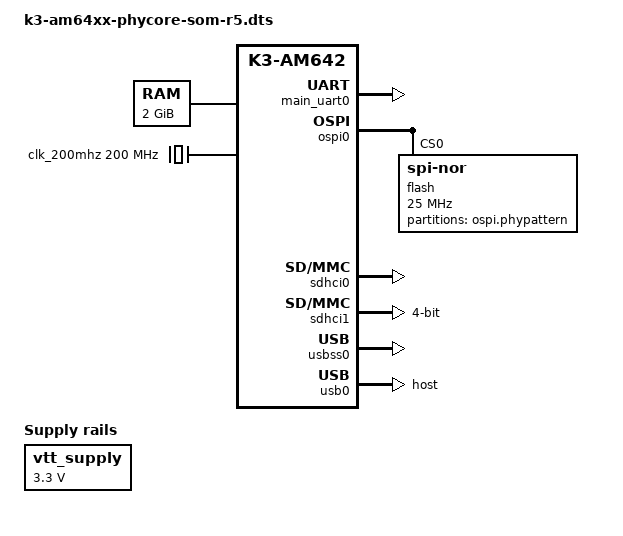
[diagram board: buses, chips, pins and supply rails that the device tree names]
// SPDX-License-Identifier: GPL-2.0
/*
 * Copyright (C) 2021 PHYTEC America, LLC - https://www.phytec.com
 */

/dts-v1/;

#include "k3-am642.dtsi"
#include "k3-am64xx-phycore-som-ddr4.dtsi"
#include "k3-am64-ddr.dtsi"

/ {

	aliases {
		ethernet0 = &cpsw3g;
		remoteproc0 = &sysctrler;
		remoteproc1 = &a53_0;
	};

	chosen {
		stdout-path = &main_uart0;
		tick-timer = &timer1;
	};

	memory@80000000 {
		device_type = "memory";
		reg = <0x00000000 0x80000000 0x00000000 0x80000000>;	/* 2GiB */

	};

	reserved-memory {
		#address-cells = <2>;
		#size-cells = <2>;
		ranges;

		secure_ddr: optee@9e800000 {
			reg = <0x00 0x9e800000 0x00 0x01800000>; /* for OP-TEE */
			alignment = <0x1000>;
			no-map;
		};
	};

	a53_0: a53@0 {
		compatible = "ti,am654-rproc";
		reg = <0x00 0x00a90000 0x00 0x10>;
		power-domains = <&k3_pds 61 TI_SCI_PD_EXCLUSIVE>,
				<&k3_pds 135 TI_SCI_PD_EXCLUSIVE>;
		resets = <&k3_reset 135 0>;
		clocks = <&k3_clks 61 0>;
		assigned-clocks = <&k3_clks 61 0>, <&k3_clks 135 0>;
		assigned-clock-parents = <&k3_clks 61 2>;
		assigned-clock-rates = <200000000>, <1000000000>;
		ti,sci = <&dmsc>;
		ti,sci-proc-id = <32>;
		ti,sci-host-id = <10>;
		u-boot,dm-spl;
	};

	clk_200mhz: dummy-clock-200mhz {
		compatible = "fixed-clock";
		#clock-cells = <0>;
		clock-frequency = <200000000>;
		u-boot,dm-spl;
	};

	vtt_supply: vtt-supply {
		compatible = "regulator-gpio";
		regulator-name = "vtt";
		regulator-min-microvolt = <0>;
		regulator-max-microvolt = <3300000>;
		gpios = <&main_gpio0 14 GPIO_ACTIVE_HIGH>;
		states = <0 0x0 3300000 0x1>;
		u-boot,dm-spl;
	};
};

&cbass_main {
	sysctrler: sysctrler {
		compatible = "ti,am654-system-controller";
		mboxes = <&secure_proxy_main 1>,
			 <&secure_proxy_main 0>;
		mbox-names = "tx", "rx";
		u-boot,dm-spl;
	};
};

&dmsc {
	mboxes = <&secure_proxy_main 0>,
		 <&secure_proxy_main 1>,
		 <&secure_proxy_main 0>;
	mbox-names = "rx", "tx", "notify";
	ti,host-id = <35>;
	ti,secure-host;
};

&main_gpio0 {
	/delete-property/ power-domains;
};

&main_uart0 {
	status = "okay";
	pinctrl-names = "default";
	pinctrl-0 = <&main_uart0_pins_default>;

	/delete-property/ power-domains;
	/delete-property/ clocks;
	/delete-property/ clock-names;
};

&memorycontroller {
	vtt-supply = <&vtt_supply>;
	pinctrl-names = "default";
	pinctrl-0 = <&ddr_vtt_pins_default>;
};

&ospi0 {
	status = "okay";
	pinctrl-names = "default";
	pinctrl-0 = <&ospi0_pins_default>;

	reg = <0x00 0x0fc40000 0x00 0x100>,
	      <0x00 0x60000000 0x00 0x8000000>;

	flash@0 {
		compatible = "jedec,spi-nor";
		reg = <0x0>;
		spi-tx-bus-width = <8>;
		spi-rx-bus-width = <8>;
		spi-max-frequency = <25000000>;
		cdns,tshsl-ns = <60>;
		cdns,tsd2d-ns = <60>;
		cdns,tchsh-ns = <60>;
		cdns,tslch-ns = <60>;
		cdns,read-delay = <0>;
		cdns,phy-mode;
		#address-cells = <1>;
		#size-cells = <1>;

		partition@3fc0000 {
			label = "ospi.phypattern";
			reg = <0x3fc0000 0x40000>;
		};
	};
};

&sdhci0 {
	status = "okay";
	clocks = <&clk_200mhz>;
	clock-names = "clk_xin";
	ti,driver-strength-ohm = <50>;
	disable-wp;
	/delete-property/ power-domains;
	/* temporarily disable hs400 until new eMMC chips can be tested */
	/delete-property/ mmc-hs400-1_8v;
};

&sdhci1 {
	status = "okay";
	pinctrl-names = "default";
	bus-width = <4>;
	pinctrl-0 = <&main_mmc1_pins_default>;
	ti,driver-strength-ohm = <50>;
	disable-wp;

	/delete-property/ power-domains;
	clocks = <&clk_200mhz>;
	clock-names = "clk_xin";
};

&usbss0 {
	status = "okay";
	ti,vbus-divider;
	ti,usb2-only;
};

&usb0 {
	status = "okay";
	pinctrl-names = "default";
	pinctrl-0 = <&main_usb0_pins_default>;
	dr_mode = "host";
	maximum-speed = "high-speed";
};


&main_pmx0 {
	ddr_vtt_pins_default: ddr-vtt-pins-default {
		u-boot,dm-spl;
		pinctrl-single,pins = <
			AM64X_IOPAD(0x0038, PIN_OUTPUT, 7)	/* (L17) OSPI0_CSn3.GPIO0_14 */
		>;
	};

	main_mmc1_pins_default: main-mmc1-pins-default {
		pinctrl-single,pins = <
			AM64X_IOPAD(0x027c, PIN_INPUT_PULLUP, 0)	/* (K18) MMC1_DAT3 */
			AM64X_IOPAD(0x0280, PIN_INPUT_PULLUP, 0)	/* (K19) MMC1_DAT2 */
			AM64X_IOPAD(0x0284, PIN_INPUT_PULLUP, 0)	/* (L21) MMC1_DAT1 */
			AM64X_IOPAD(0x0288, PIN_INPUT_PULLUP, 0)	/* (K21) MMC1_DAT0 */
			AM64X_IOPAD(0x028c, PIN_INPUT_PULLDOWN, 0)	/* (L20) MMC1_CLK */
			AM64X_IOPAD(0x0290, PIN_INPUT, 0)		/* MMC1_CLKLB */
			AM64X_IOPAD(0x0294, PIN_INPUT_PULLUP, 0)	/* (J19) MMC1_CMD */
			AM64X_IOPAD(0x0298, PIN_INPUT, 0)		/* (D19) MMC1_SDCD */
		>;
	};

	main_uart0_pins_default: main-uart0-pins-default {
		pinctrl-single,pins = <
			AM64X_IOPAD(0x0230, PIN_INPUT, 0)	/* (D15) UART0_RXD */
			AM64X_IOPAD(0x0234, PIN_OUTPUT, 0)	/* (C16) UART0_TXD */
		>;
	};

	main_usb0_pins_default: main-usb0-pins-default {
		pinctrl-single,pins = <
			AM64X_IOPAD(0x02a8, PIN_OUTPUT, 0)	/* (E19) USB0_DRVVBUS */
		>;
	};

	ospi0_pins_default: ospi0-pins-default {
		pinctrl-single,pins = <
			AM64X_IOPAD(0x0000, PIN_OUTPUT, 0)	/* (N20) OSPI0_CLK */
			AM64X_IOPAD(0x0008, PIN_INPUT, 0)	/* (N19) OSPI0_DQS */
			AM64X_IOPAD(0x000c, PIN_INPUT, 0)	/* (M19) OSPI0_D0 */
			AM64X_IOPAD(0x0010, PIN_INPUT, 0)	/* (M18) OSPI0_D1 */
			AM64X_IOPAD(0x0014, PIN_INPUT, 0)	/* (M20) OSPI0_D2 */
			AM64X_IOPAD(0x0018, PIN_INPUT, 0)	/* (M21) OSPI0_D3 */
			AM64X_IOPAD(0x001c, PIN_INPUT, 0)	/* (P21) OSPI0_D4 */
			AM64X_IOPAD(0x0020, PIN_INPUT, 0)	/* (P20) OSPI0_D5 */
			AM64X_IOPAD(0x0024, PIN_INPUT, 0)	/* (N18) OSPI0_D6 */
			AM64X_IOPAD(0x0028, PIN_INPUT, 0)	/* (M17) OSPI0_D7 */
			AM64X_IOPAD(0x002c, PIN_OUTPUT, 0)	/* (L19) OSPI0_CSn0 */
		>;
	};
};

#include "k3-am64xx-phycore-som-u-boot.dtsi"
